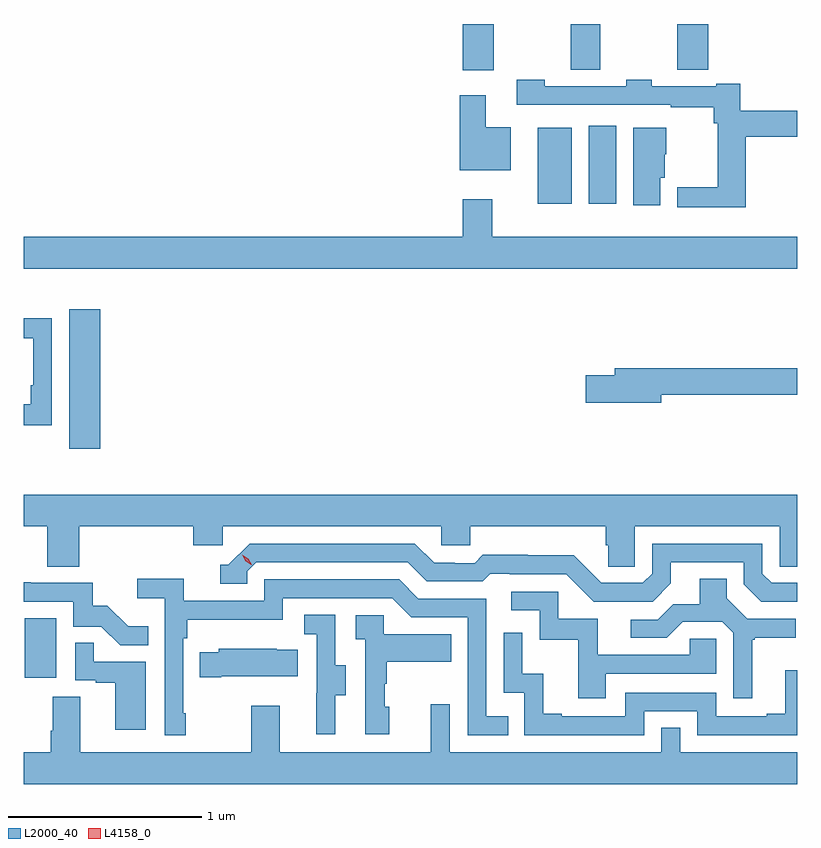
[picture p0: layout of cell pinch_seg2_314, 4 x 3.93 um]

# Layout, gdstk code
import gdstk
lib = gdstk.Library(unit=1e-6, precision=1e-09)
def R(c, l, rs):  # rectangles x0, y0, x1, y1
    for r in rs: c.add(gdstk.rectangle(r[:2], r[2:], *l))
def P(c, l, *ps):  # polygons
    for p in ps: c.add(gdstk.Polygon(p, *l))
L2000_40 = (2000, 40)
L4158_0 = (4158, 0)

pinch_seg2_314 = lib.new_cell('pinch_seg2_314')
R(pinch_seg2_314, L2000_40, [(926.336,625.542,926.5,625.849), (926.567,626.724,926.728,627.445), (928.988,627.992,929.164,628.384), (929.252,627.992,929.395,628.393), (928.601,628.68,928.761,628.92), (929.158,628.684,929.312,628.92), (929.71,628.684,929.87,628.92)])
P(pinch_seg2_314, L2000_40, [(930.065,628.336),(930.331,628.336),(930.331,628.472),(930.035,628.472),(930.035,628.612),(929.912,628.612),(929.912,628.599),(929.577,628.599),(929.577,628.632),(929.445,628.632),(929.445,628.599),(929.025,628.599),(929.025,628.632),(928.881,628.632),(928.881,628.503),(929.677,628.503),(929.677,628.491),(929.899,628.491),(929.899,628.406),(929.918,628.406),(929.918,628.076),(929.709,628.076),(929.709,627.974),(930.065,627.974)],
  [(928.849,628.387),(928.72,628.387),(928.72,628.552),(928.586,628.552),(928.586,628.163),(928.849,628.163)],
  [(929.623,628.125),(929.644,628.125),(929.644,628.248),(929.653,628.248),(929.653,628.384),(929.483,628.384),(929.483,627.984),(929.623,627.984)],
  [(930.331,627.82),(928.753,627.82),(928.753,628.015),(928.601,628.015),(928.601,627.82),(926.331,627.82),(926.331,627.656),(930.331,627.656)],
  [(926.478,627.398),(926.331,627.398),(926.331,627.297),(926.382,627.297),(926.382,627.052),(926.369,627.052),(926.369,626.956),(926.331,626.956),(926.331,626.847),(926.478,626.847)],
  [(929.626,627.004),(930.331,627.004),(930.331,627.14),(929.387,627.14),(929.387,627.104),(929.238,627.104),(929.238,626.962),(929.626,626.962)],
  [(926.618,626.324),(927.209,626.324),(927.209,626.226),(927.36,626.226),(927.36,626.324),(928.491,626.324),(928.491,626.226),(928.641,626.226),(928.641,626.324),(929.339,626.324),(929.339,626.226),(929.353,626.226),(929.353,626.116),(929.49,626.116),(929.49,626.324),(930.24,626.324),(930.24,626.116),(930.331,626.116),(930.331,626.488),(926.331,626.488),(926.331,626.324),(926.453,626.324),(926.453,626.116),(926.618,626.116)],
  [(929.677,626.029),(929.677,626.139),(930.054,626.139),(930.054,626.025),(930.144,625.935),(930.331,625.935),(930.331,626.031),(930.198,626.031),(930.15,626.079),(930.15,626.235),(929.58,626.235),(929.58,626.079),(929.532,626.031),(929.316,626.031),(929.174,626.173),(928.938,626.173),(928.938,626.176),(928.705,626.176),(928.663,626.133),(928.56,626.133),(928.56,626.136),(928.453,626.136),(928.354,626.235),(927.501,626.235),(927.39,626.124),(927.347,626.124),(927.347,626.028),(927.486,626.028),(927.486,626.091),(927.534,626.139),(928.317,626.139),(928.416,626.04),(928.705,626.04),(928.744,626.079),(928.843,626.079),(928.843,626.076),(929.136,626.076),(929.277,625.935),(929.583,625.935)],
  [(930.097,625.737),(930.109,625.737),(930.109,625.748),(930.322,625.748),(930.322,625.845),(930.072,625.845),(929.965,625.952),(929.965,626.054),(929.825,626.054),(929.825,625.922),(929.69,625.922),(929.61,625.842),(929.469,625.842),(929.469,625.749),(929.656,625.749),(929.737,625.83),(929.943,625.83),(930,625.773),(930,625.434),(930.097,625.434)],
  [(927.169,625.357),(927.156,625.357),(927.156,625.745),(927.176,625.745),(927.176,625.841),(927.672,625.841),(927.672,625.953),(928.236,625.953),(928.335,625.854),(928.626,625.854),(928.626,625.245),(928.835,625.245),(928.835,625.341),(928.722,625.341),(928.722,625.95),(928.372,625.95),(928.273,626.049),(927.576,626.049),(927.576,625.938),(927.158,625.938),(927.158,626.054),(926.919,626.054),(926.919,625.952),(927.06,625.952),(927.06,625.245),(927.169,625.245)],
  [(926.975,625.807),(926.871,625.807),(926.764,625.914),(926.688,625.914),(926.688,626.031),(926.369,626.031),(926.369,626.036),(926.331,626.036),(926.331,625.935),(926.589,625.935),(926.589,625.806),(926.733,625.806),(926.831,625.708),(926.975,625.708)],
  [(929.341,625.563),(929.91,625.563),(929.91,625.743),(929.773,625.743),(929.773,625.659),(929.299,625.659),(929.299,625.845),(929.094,625.845),(929.094,625.986),(928.851,625.986),(928.851,625.89),(928.998,625.89),(928.998,625.737),(929.197,625.737),(929.197,625.434),(929.341,625.434)],
  [(927.943,625.45),(927.997,625.45),(927.997,625.605),(927.942,625.605),(927.942,625.868),(927.783,625.868),(927.783,625.765),(927.846,625.765),(927.846,625.461),(927.845,625.461),(927.845,625.248),(927.943,625.248)],
  [(928.222,625.392),(928.197,625.392),(928.197,625.511),(928.207,625.511),(928.207,625.625),(928.541,625.625),(928.541,625.765),(928.194,625.765),(928.194,625.863),(928.047,625.863),(928.047,625.739),(928.098,625.739),(928.098,625.248),(928.222,625.248)],
  [(929.538,625.368),(929.814,625.368),(929.814,625.245),(930.331,625.245),(930.331,625.579),(930.269,625.579),(930.269,625.354),(930.173,625.354),(930.173,625.341),(929.91,625.341),(929.91,625.464),(929.442,625.464),(929.442,625.341),(929.113,625.341),(929.113,625.354),(929.018,625.354),(929.018,625.562),(928.908,625.562),(928.908,625.774),(928.812,625.774),(928.812,625.464),(928.92,625.464),(928.92,625.245),(929.538,625.245)],
  [(926.962,625.623),(926.693,625.623),(926.693,625.721),(926.598,625.721),(926.598,625.527),(926.705,625.527),(926.705,625.515),(926.804,625.515),(926.804,625.272),(926.962,625.272)],
  [(927.352,625.55),(927.749,625.55),(927.749,625.687),(927.641,625.687),(927.641,625.69),(927.339,625.69),(927.339,625.672),(927.241,625.672),(927.241,625.543),(927.352,625.543)],
  [(930.331,625.156),(929.724,625.156),(929.724,625.283),(929.628,625.283),(929.628,625.156),(928.533,625.156),(928.533,625.405),(928.436,625.405),(928.436,625.156),(927.655,625.156),(927.655,625.396),(927.508,625.396),(927.508,625.156),(926.623,625.156),(926.623,625.442),(926.483,625.442),(926.483,625.268),(926.471,625.268),(926.471,625.156),(926.331,625.156),(926.331,624.992),(930.331,624.992)])
P(pinch_seg2_314, L4158_0, [(927.509,626.125),(927.479,626.144),(927.462,626.176),(927.462,626.176),(927.462,626.176),(927.493,626.157),(927.51,626.125),(927.51,626.125)])

lib.write_gds('pinch_seg2_314.gds')
